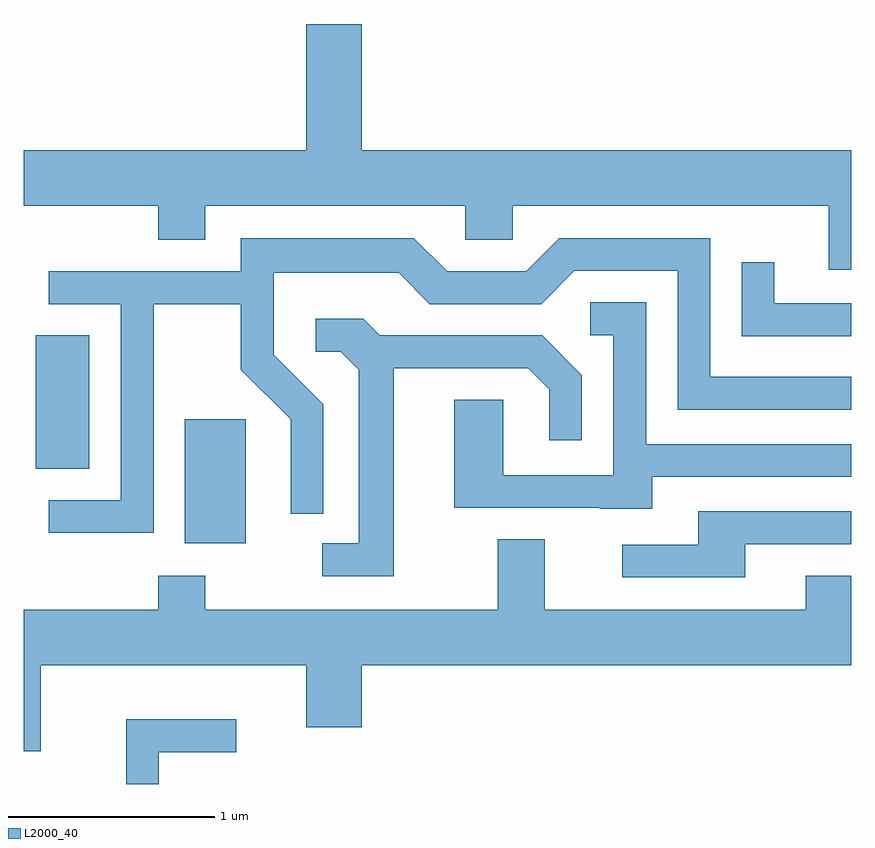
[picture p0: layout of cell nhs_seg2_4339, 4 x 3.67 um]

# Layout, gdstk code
import gdstk
lib = gdstk.Library(unit=1e-6, precision=1e-09)
def R(c, l, rs):  # rectangles x0, y0, x1, y1
    for r in rs: c.add(gdstk.rectangle(r[:2], r[2:], *l))
def P(c, l, *ps):  # polygons
    for p in ps: c.add(gdstk.Polygon(p, *l))
L2000_40 = (2000, 40)

nhs_seg2_4339 = lib.new_cell('nhs_seg2_4339')
R(nhs_seg2_4339, L2000_40, [(314.391,988.966,314.684,989.564), (313.671,989.326,313.929,989.969)])
P(nhs_seg2_4339, L2000_40, [(317.611,990.864),(315.244,990.864),(315.244,991.474),(314.976,991.474),(314.976,990.864),(313.611,990.864),(313.611,990.596),(314.261,990.596),(314.261,990.431),(314.489,990.431),(314.489,990.596),(315.746,990.596),(315.746,990.431),(315.974,990.431),(315.974,990.596),(317.501,990.596),(317.501,990.286),(317.611,990.286)],
  [(314.239,990.121),(314.661,990.121),(314.661,989.804),(314.901,989.564),(314.901,989.108),(315.059,989.108),(315.059,989.637),(314.819,989.877),(314.819,990.271),(315.424,990.271),(315.574,990.121),(316.112,990.121),(316.272,990.281),(316.771,990.281),(316.771,989.611),(317.611,989.611),(317.611,989.769),(316.929,989.769),(316.929,990.439),(316.199,990.439),(316.039,990.279),(315.657,990.279),(315.497,990.439),(314.661,990.439),(314.661,990.279),(313.733,990.279),(313.733,990.121),(314.081,990.121),(314.081,989.174),(313.733,989.174),(313.733,989.016),(314.239,989.016)],
  [(317.611,990.124),(317.239,990.124),(317.239,990.323),(317.081,990.323),(317.081,989.966),(317.611,989.966)],
  [(316.649,989.286),(317.611,989.286),(317.611,989.444),(316.619,989.444),(316.619,990.129),(316.348,990.129),(316.348,989.971),(316.461,989.971),(316.461,989.294),(315.929,989.294),(315.929,989.659),(315.691,989.659),(315.691,989.136),(316.395,989.136),(316.395,989.131),(316.649,989.131)],
  [(315.399,989.811),(316.049,989.811),(316.151,989.709),(316.151,989.463),(316.309,989.463),(316.309,989.777),(316.117,989.969),(315.332,989.969),(315.252,990.049),(315.023,990.049),(315.023,989.891),(315.144,989.891),(315.231,989.804),(315.231,988.964),(315.053,988.964),(315.053,988.806),(315.399,988.806)],
  [(317.099,988.961),(317.611,988.961),(317.611,989.119),(316.871,989.119),(316.871,988.959),(316.503,988.959),(316.503,988.801),(317.099,988.801)],
  [(313.694,988.376),(314.976,988.376),(314.976,988.076),(315.244,988.076),(315.244,988.376),(317.611,988.376),(317.611,988.809),(317.391,988.809),(317.391,988.644),(316.129,988.644),(316.129,988.984),(315.901,988.984),(315.901,988.644),(314.489,988.644),(314.489,988.809),(314.261,988.809),(314.261,988.644),(313.611,988.644),(313.611,987.961),(313.694,987.961)],
  [(314.264,987.956),(314.638,987.956),(314.638,988.114),(314.106,988.114),(314.106,987.802),(314.264,987.802)])

lib.write_gds('nhs_seg2_4339.gds')
